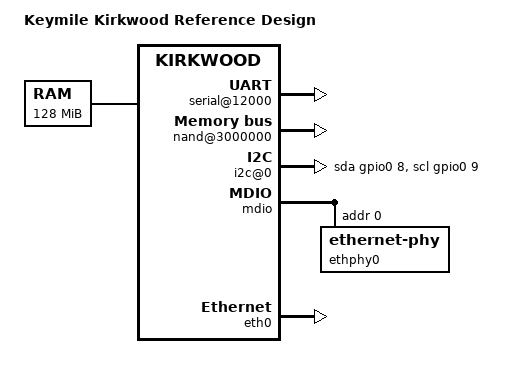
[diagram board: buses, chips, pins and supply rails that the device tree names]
/dts-v1/;

#include "kirkwood.dtsi"
#include "kirkwood-98dx4122.dtsi"

/ {
	model = "Keymile Kirkwood Reference Design";
	compatible = "keymile,km_kirkwood", "marvell,kirkwood-98DX4122", "marvell,kirkwood";

	memory {
		device_type = "memory";
		reg = <0x00000000 0x08000000>;
	};

	chosen {
		bootargs = "console=ttyS0,115200n8 earlyprintk";
	};

	ocp@f1000000 {
		pinctrl: pinctrl@10000 {
			pinctrl-0 = < &pmx_i2c_gpio_sda &pmx_i2c_gpio_scl >;
			pinctrl-names = "default";

			pmx_i2c_gpio_sda: pmx-gpio-sda {
				marvell,pins = "mpp8";
				marvell,function = "gpio";
			};
			pmx_i2c_gpio_scl: pmx-gpio-scl {
				marvell,pins = "mpp9";
				marvell,function = "gpio";
			};
		};

		serial@12000 {
			status = "ok";
		};

		nand@3000000 {
			pinctrl-0 = <&pmx_nand>;
			pinctrl-names = "default";
			status = "ok";
			chip-delay = <25>;
		};
	};

	i2c@0 {
		compatible = "i2c-gpio";
		gpios = < &gpio0 8 0		/* sda */
			&gpio0 9 0 >;		/* scl */
		i2c-gpio,delay-us = <2>;	/* ~100 kHz */
	};
};

&mdio {
	status = "okay";

	ethphy0: ethernet-phy@0 {
		device_type = "ethernet-phy";
		reg = <0>;
	};
};

&eth0 {
	status = "okay";
	ethernet0-port@0 {
		phy-handle = <&ethphy0>;
	};
};
